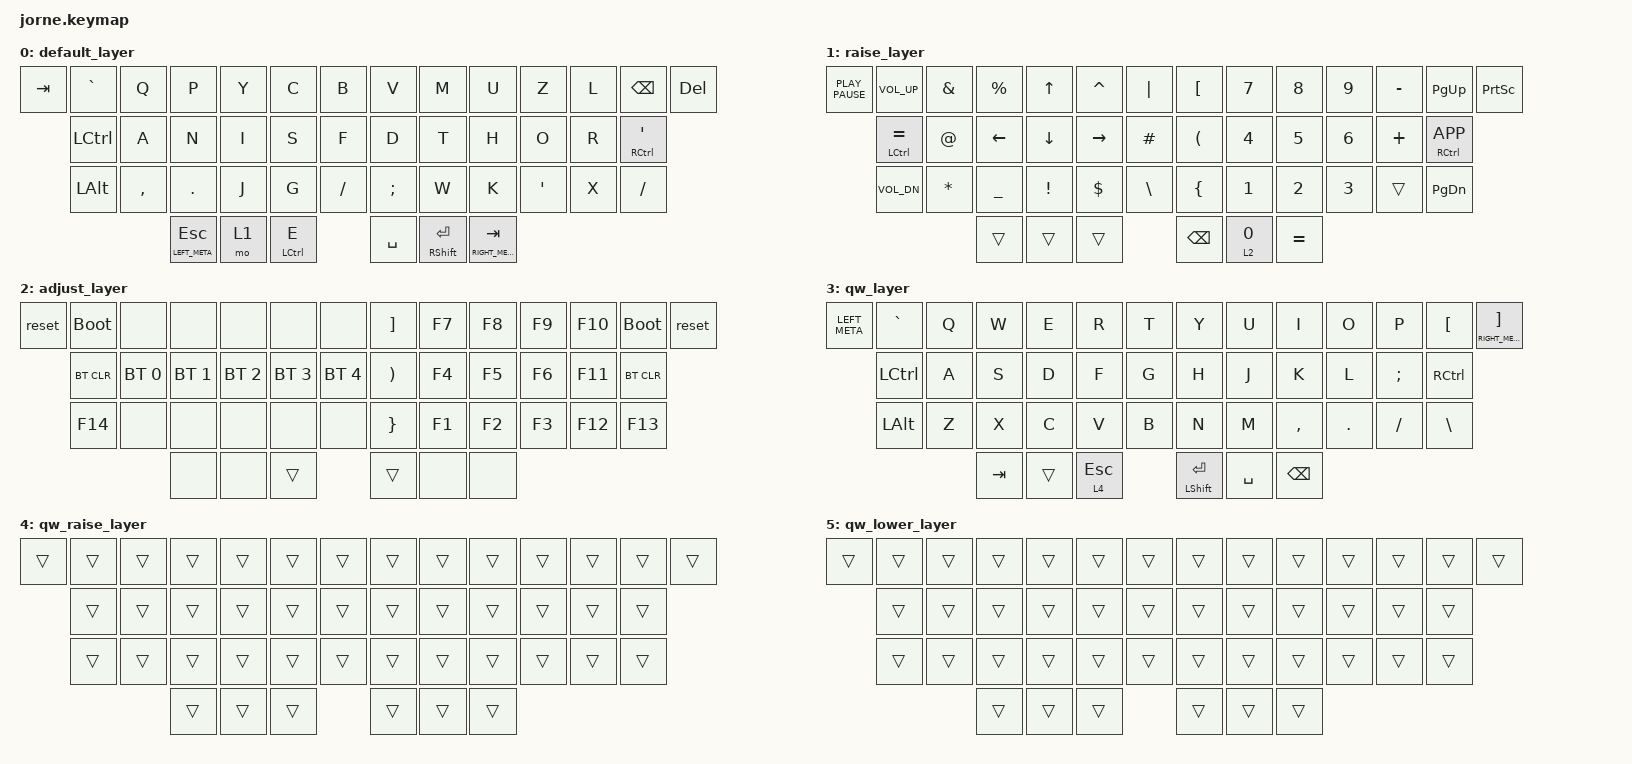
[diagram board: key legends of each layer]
/*
 * Copyright (c) 2020 The ZMK Contributors
 *
 * SPDX-License-Identifier: MIT
 */

#include <behaviors.dtsi>
#include <dt-bindings/zmk/keys.h>
#include <dt-bindings/zmk/bt.h>

#define DEF 0
#define LWR 1
#define RSE 2
#define ADJ 3

/ {
    combos {
        compatible = "zmk,combos";

        combo_qwerty {
            bindings = <&tog 4>;
            key-positions = <38 43>;
            layers = <2>;
        };

        mitosis_combo {
            bindings = <&tog 0>;
            key-positions = <43 38>;
            layers = <5>;
        };

        adj_layer_combo {
            bindings = <&mo 2>;
            key-positions = <40 41>;
            layers = <0 1 2>;
        };
    };

    keymap {
        compatible = "zmk,keymap";

        default_layer {
            // -----------------------------------------------------------------------------------------
            // |  GUI |   ~  |  Q  |  W  |  E  |  R  |  T  |   |  Y  |  U   |  I  |  O  |  P  |  [   | GUI/] |
            //        | CTRL |  A  |  S  |  D  |  F  |  G  |   |  H  |  J   |  K  |  L  |  ;  |CTRL/'|
            //        | LALT |  Z  |  X  |  C  |  V  |  B  |   |  N  |  M   |  ,  |  .  |  /  | RALT |
            //                           | RSE | SPC | LWR |   | LWR | BKSP | RSE |

            bindings = <
 &kp TAB  &kp GRAVE      &kp Q    &kp P              &kp Y   &kp C        &kp B          &kp V                  &kp M               &kp U     &kp Z   &kp L   &kp BACKSPACE  &kp DEL
          &kp LCTRL      &kp A    &kp N              &kp I   &kp S        &kp F          &kp D                  &kp T               &kp H     &kp O   &kp R  &mt RCTRL APOS
           &kp LALT  &kp COMMA  &kp DOT              &kp J   &kp G    &kp SLASH  &kp SEMICOLON                  &kp W               &kp K  &kp APOS   &kp X       &kp SLASH
                                         &mt LEFT_META ESC   &mo 1  &mt LCTRL E      &kp SPACE  &mt RIGHT_SHIFT ENTER  &mt RIGHT_META TAB
            >;
        };

        raise_layer {
            bindings = <
 &kp K_PLAY_PAUSE     &kp C_VOL_UP  &kp AMPERSAND  &kp PERCENT    &kp UP   &kp CARET       &kp PIPE      &kp LEFT_BRACKET    &kp NUMBER_7  &kp NUMBER_8  &kp NUMBER_9  &kp MINUS        &kp PG_UP  &kp PRINTSCREEN
                   &mt LCTRL EQUAL         &kp AT     &kp LEFT  &kp DOWN   &kp RIGHT       &kp HASH  &kp LEFT_PARENTHESIS    &kp NUMBER_4  &kp NUMBER_5  &kp NUMBER_6   &kp PLUS  &mt RCTRL K_APP
                      &kp C_VOL_DN      &kp ASTRK    &kp UNDER  &kp EXCL  &kp DOLLAR  &kp BACKSLASH        &kp LEFT_BRACE    &kp NUMBER_1  &kp NUMBER_2  &kp NUMBER_3     &trans        &kp PG_DN
                                                                  &trans      &trans         &trans         &kp BACKSPACE  &lt 2 NUMBER_0     &kp EQUAL
            >;
        };

        adjust_layer {
            bindings = <
 &reset  &bootloader         &none         &none         &none         &none         &none      &kp RIGHT_BRACKET  &kp F7  &kp F8  &kp F9  &kp F10  &bootloader  &reset
          &bt BT_CLR  &bt BT_SEL 0  &bt BT_SEL 1  &bt BT_SEL 2  &bt BT_SEL 3  &bt BT_SEL 4  &kp RIGHT_PARENTHESIS  &kp F4  &kp F5  &kp F6  &kp F11   &bt BT_CLR
             &kp F14         &none         &none         &none         &none         &none        &kp RIGHT_BRACE  &kp F1  &kp F2  &kp F3  &kp F12      &kp F13
                                                         &none         &none        &trans                 &trans   &none   &none
            >;
        };

        qw_layer {
            bindings = <
 &kp LEFT_META     &kp GRAVE   &kp Q   &kp W    &kp E   &kp R      &kp T               &kp Y      &kp U          &kp I    &kp O      &kp P  &kp LEFT_BRACKET  &mt RIGHT_META RIGHT_BRACKET
                   &kp LCTRL   &kp A   &kp S    &kp D   &kp F      &kp G               &kp H      &kp J          &kp K    &kp L   &kp SEMI         &kp RCTRL
                &kp LEFT_ALT   &kp Z   &kp X    &kp C   &kp V      &kp B               &kp N      &kp M      &kp COMMA  &kp DOT  &kp SLASH     &kp BACKSLASH
                                              &kp TAB  &trans  &lt 4 ESC  &mt LEFT_SHIFT RET  &kp SPACE  &kp BACKSPACE
            >;
        };

        qw_raise_layer {
            bindings = <
 &trans  &trans  &trans  &trans  &trans  &trans  &trans  &trans  &trans  &trans  &trans  &trans  &trans  &trans
         &trans  &trans  &trans  &trans  &trans  &trans  &trans  &trans  &trans  &trans  &trans  &trans
         &trans  &trans  &trans  &trans  &trans  &trans  &trans  &trans  &trans  &trans  &trans  &trans
                                 &trans  &trans  &trans  &trans  &trans  &trans
            >;
        };

        qw_lower_layer {
            bindings = <
 &trans  &trans  &trans  &trans  &trans  &trans  &trans  &trans  &trans  &trans  &trans  &trans  &trans  &trans
         &trans  &trans  &trans  &trans  &trans  &trans  &trans  &trans  &trans  &trans  &trans  &trans
         &trans  &trans  &trans  &trans  &trans  &trans  &trans  &trans  &trans  &trans  &trans  &trans
                                 &trans  &trans  &trans  &trans  &trans  &trans
            >;
        };
    };
};
